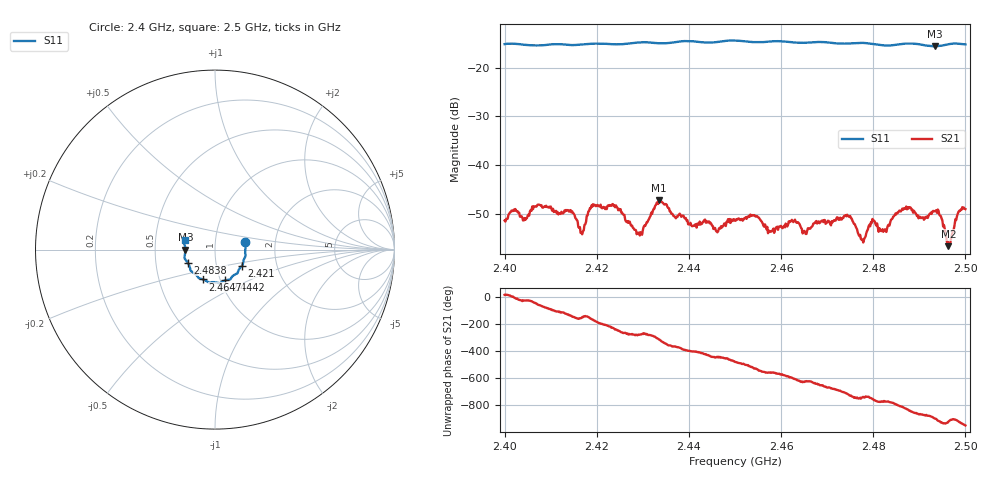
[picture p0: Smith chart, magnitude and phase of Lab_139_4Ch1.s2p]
# Hz S RI R 50
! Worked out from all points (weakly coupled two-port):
!   601 points, 2.4 GHz to 2.5 GHz, reference 50 ohm
!   highest |S21| = -47.18 dB at 2.4335 GHz (marker M1); lowest = -56.6 dB at 2.4963 GHz (marker M2)
!   lowest |S11| = -15.7 dB at 2.4933 GHz (marker M3), VSWR 1.39, Z = 35.8 + j0.0195 ohm
!   |S11| at or under -10 dB: start of sweep to end of sweep
!   S12 and S22 are empty: the file has one direction only
!   S11 on the Smith chart (normalised r, x): 2.4 GHz: 1.40, +0.12; 2.421 GHz: 1.33, -0.24; 2.4442 GHz: 1.05, -0.37; 2.4647 GHz: 0.83, -0.28; 2.4838 GHz: 0.73, -0.11; 2.5 GHz: 0.71, +0.08
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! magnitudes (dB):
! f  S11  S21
! 2.4 GHz  -15.2  -51.3
! 2.4075 GHz  -15.5  -48.1
! 2.4143 GHz  -15.4  -49.2
! 2.4167 GHz  -15.3  -53.8
! 2.4187 GHz  -15.1  -48.9
! 2.421 GHz  -15.1  -48.7
! 2.424 GHz  -15.3  -48.6
! 2.4293 GHz  -14.8  -54.4
! 2.4333 GHz  -15.0  -47.9
! 2.4335 GHz  -15.0  -47.2
! 2.4442 GHz  -14.9  -51.6
! 2.45 GHz  -14.5  -51.4
! 2.4647 GHz  -14.9  -54.0
! 2.4667 GHz  -14.8  -52.6
! 2.4745 GHz  -15.1  -50.4
! 2.4778 GHz  -15.0  -55.8
! 2.4798 GHz  -15.2  -51.0
! 2.4833 GHz  -15.5  -52.2
! 2.4838 GHz  -15.5  -51.2
! 2.4933 GHz  -15.7  -49.4
! 2.4963 GHz  -15.2  -56.6
! 2.5 GHz  -15.3  -49.0
